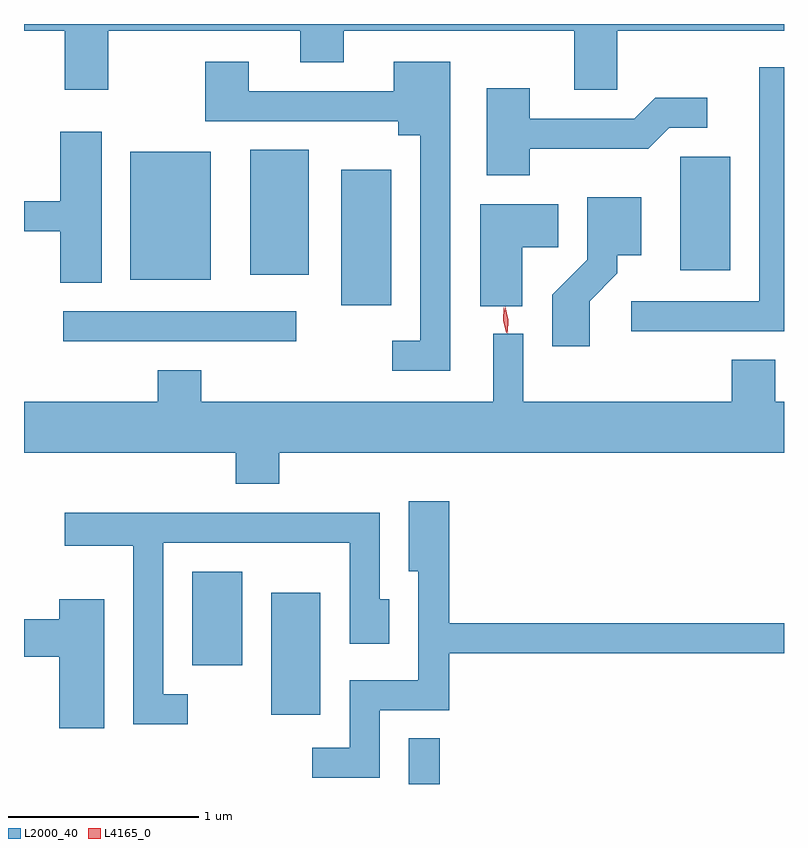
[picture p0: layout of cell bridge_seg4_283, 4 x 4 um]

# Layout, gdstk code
import gdstk
lib = gdstk.Library(unit=1e-6, precision=1e-09)
def R(c, l, rs):  # rectangles x0, y0, x1, y1
    for r in rs: c.add(gdstk.rectangle(r[:2], r[2:], *l))
def P(c, l, *ps):  # polygons
    for p in ps: c.add(gdstk.Polygon(p, *l))
L2000_40 = (2000, 40)
L4165_0 = (4165, 0)

bridge_seg4_283 = lib.new_cell('bridge_seg4_283')
R(bridge_seg4_283, L2000_40, [(559.381,1386.232,559.544,1386.473), (558.656,1386.596,558.914,1387.239), (558.241,1386.856,558.504,1387.349), (557.563,1388.561,558.788,1388.719), (559.026,1388.751,559.289,1389.464), (557.916,1388.886,558.339,1389.559), (558.546,1388.911,558.854,1389.569), (560.811,1388.936,561.074,1389.534)])
P(bridge_seg4_283, L2000_40, [(557.799,1390.196),(558.811,1390.196),(558.811,1390.031),(559.039,1390.031),(559.039,1390.196),(560.251,1390.196),(560.251,1389.886),(560.479,1389.886),(560.479,1390.196),(561.356,1390.196),(561.356,1390.232),(557.356,1390.232),(557.356,1390.196),(557.571,1390.196),(557.571,1389.886),(557.799,1389.886)],
  [(559.599,1390.034),(559.301,1390.034),(559.301,1389.879),(558.539,1389.879),(558.539,1390.034),(558.311,1390.034),(558.311,1389.721),(559.326,1389.721),(559.326,1389.646),(559.441,1389.646),(559.441,1388.564),(559.293,1388.564),(559.293,1388.406),(559.599,1388.406)],
  [(561.356,1390.004),(561.226,1390.004),(561.226,1388.774),(560.553,1388.774),(560.553,1388.616),(561.356,1388.616)],
  [(560.019,1389.576),(560.642,1389.576),(560.752,1389.686),(560.953,1389.686),(560.953,1389.844),(560.679,1389.844),(560.569,1389.734),(560.019,1389.734),(560.019,1389.894),(559.791,1389.894),(559.791,1389.436),(560.019,1389.436)],
  [(557.764,1389.664),(557.546,1389.664),(557.546,1389.299),(557.356,1389.299),(557.356,1389.141),(557.546,1389.141),(557.546,1388.871),(557.764,1388.871)],
  [(560.334,1388.774),(560.479,1388.919),(560.479,1389.016),(560.604,1389.016),(560.604,1389.319),(560.321,1389.319),(560.321,1388.992),(560.136,1388.807),(560.136,1388.536),(560.334,1388.536)],
  [(559.979,1389.056),(560.169,1389.056),(560.169,1389.284),(559.756,1389.284),(559.756,1388.746),(559.979,1388.746)],
  [(558.699,1387.976),(561.356,1387.976),(561.356,1388.244),(561.309,1388.244),(561.309,1388.464),(561.081,1388.464),(561.081,1388.244),(559.984,1388.244),(559.984,1388.603),(559.826,1388.603),(559.826,1388.244),(558.289,1388.244),(558.289,1388.409),(558.061,1388.409),(558.061,1388.244),(557.356,1388.244),(557.356,1387.976),(558.471,1387.976),(558.471,1387.811),(558.699,1387.811)],
  [(559.229,1386.621),(559.594,1386.621),(559.594,1386.921),(561.356,1386.921),(561.356,1387.079),(559.594,1387.079),(559.594,1387.719),(559.381,1387.719),(559.381,1387.351),(559.431,1387.351),(559.431,1386.779),(559.071,1386.779),(559.071,1386.424),(558.873,1386.424),(558.873,1386.266),(559.229,1386.266)],
  [(558.218,1386.704),(558.089,1386.704),(558.089,1387.501),(559.071,1387.501),(559.071,1386.971),(559.279,1386.971),(559.279,1387.204),(559.229,1387.204),(559.229,1387.659),(557.571,1387.659),(557.571,1387.486),(557.931,1387.486),(557.931,1386.546),(558.218,1386.546)],
  [(557.779,1387.204),(557.541,1387.204),(557.541,1387.099),(557.356,1387.099),(557.356,1386.901),(557.541,1386.901),(557.541,1386.526),(557.779,1386.526)])
P(bridge_seg4_283, L4165_0, [(559.895,1388.608),(559.878,1388.673),(559.88,1388.74),(559.881,1388.74),(559.881,1388.74),(559.898,1388.675),(559.896,1388.608),(559.896,1388.608)],
  [(559.901,1388.605),(559.901,1388.606),(559.885,1388.673),(559.888,1388.743),(559.888,1388.743),(559.888,1388.743),(559.904,1388.675),(559.902,1388.606)])

lib.write_gds('bridge_seg4_283.gds')
